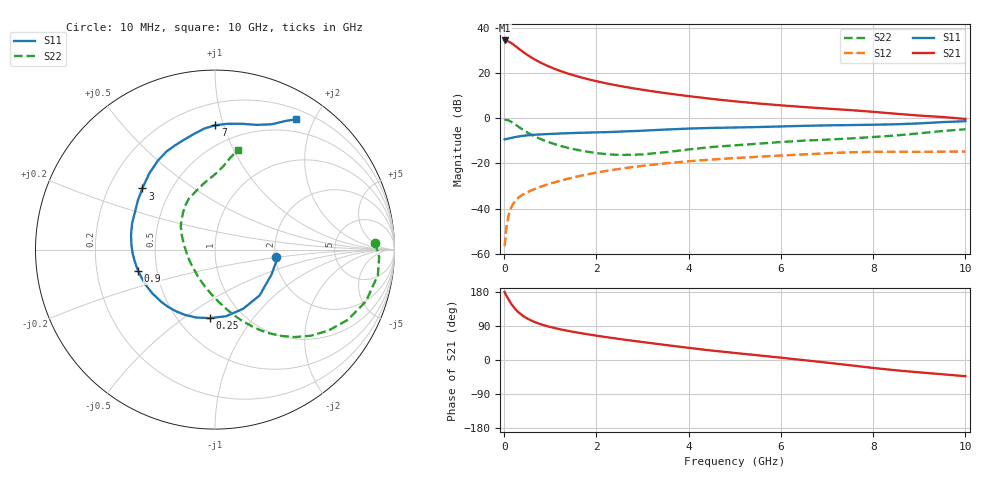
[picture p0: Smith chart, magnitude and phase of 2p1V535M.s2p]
! (c) 2009  Infineon Technologies AG, Munich
! Infineon Technologies  Discrete & RF Semiconductors
! BFP420
! VCE =  1.5 V,  IC =  35 mA
! Common Emitter S-Parameters:  Nov 2009
# GHz  S  MA  R  50
!  f  S11  S21  S12  S22
! GHz  MAG  ANG  MAG  ANG  MAG  ANG  MAG  ANG
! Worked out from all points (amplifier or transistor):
!   46 points, 10 MHz to 10 GHz, reference 50 ohm
!   highest |S21| = 34.3 dB at 10 MHz (marker M1)
!   |S21| within 3 dB of that: start of sweep to 277 MHz
!   unconditionally stable (mu >= 1): start of sweep to 10.18 MHz; 1.358 GHz to end of sweep
!   at 300 MHz: K = 0.45, MSG = 33.1 dB, |S12| = -35.3 dB
!   at 1.7 GHz: K = 1.06, MAG = 20.0 dB, |S12| = -25.2 dB
!   at 10 GHz: K = 1.06, MAG = 5.7 dB, |S12| = -14.7 dB
!   lowest NFmin = 1.64 dB at 900 MHz
!   S11 on the Smith chart (normalised r, x): 10 MHz: 2.01, -0.20; 250 MHz: 0.71, -0.63; 900 MHz: 0.39, -0.11; 3 GHz: 0.34, +0.33; 7 GHz: 0.35, +0.94; 10 GHz: 0.32, +1.76
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0.01  0.3416 -7.4  51.8 179.7  0.0015 124.4  0.8922 2.4
0.02  0.3481 -10.5  51.04 176.0  0.0019 91.4  0.9158 -2.6
0.05  0.3442 -23.7  50.66 169.4  0.004 86.0  0.9186 -8.9
0.1  0.3565 -45.8  48.86 158.7  0.0074 77.7  0.889 -18.9
0.15  0.3649 -64.5  45.7 149.0  0.0105 72.7  0.8374 -27.8
0.2  0.3763 -80.4  42.17 140.6  0.0131 68.2  0.7775 -35.4
0.25  0.3829 -94.3  38.47 133.3  0.0153 64.9  0.7174 -42.0
0.35  0.4006 -114.9  32.18 121.8  0.019 60.8  0.6081 -52.3
0.4  0.4067 -122.7  29.48 117.1  0.0205 59.8  0.5623 -56.4
0.5  0.4173 -135.5  25 109.5  0.0232 58.4  0.4856 -63.3
0.6  0.4258 -145.1  21.52 103.4  0.0258 57.8  0.4264 -69.0
0.7  0.4333 -152.9  18.79 98.4  0.0284 57.7  0.3801 -73.9
0.9  0.4443 -164.6  14.86 90.4  0.0334 57.7  0.3128 -82.5
1.3  0.4628 179.4  10.28 78.9  0.0439 57.2  0.2329 -98.7
1.7  0.4773 167.8  7.782 70.1  0.0547 55.5  0.1898 -114.9
2.2  0.4908 155.9  5.912 60.6  0.0682 52.0  0.1612 -136.1
3  0.5294 139.9  4.225 47.4  0.0887 45.0  0.1587 -171.9
3.5  0.5602 130.9  3.562 39.6  0.1007 40.1  0.1777 169.4
5.5  0.6366 105.5  2.111 12.4  0.1407 20.9  0.2733 130.5
7  0.6933 89.8  1.626 -7.0  0.1681 6.4  0.3358 110.1
8.5  0.7332 71.4  1.25 -27.3  0.1811 -11.0  0.4161 90.5
10  0.8566 58.0  0.962 -42.7  0.1835 -22.2  0.5685 77.0
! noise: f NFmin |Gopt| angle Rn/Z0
0.9  1.64  0.3  -155  0.13
1.8  1.9  0.37  -142  0.15
2.4  2.1  0.34  -134  0.19
3  2.11  0.4  -126  0.22
4  2.25  0.5  -110  0.35
5  2.73  0.54  -94  0.59
6  3.16  0.59  -82  0.84
